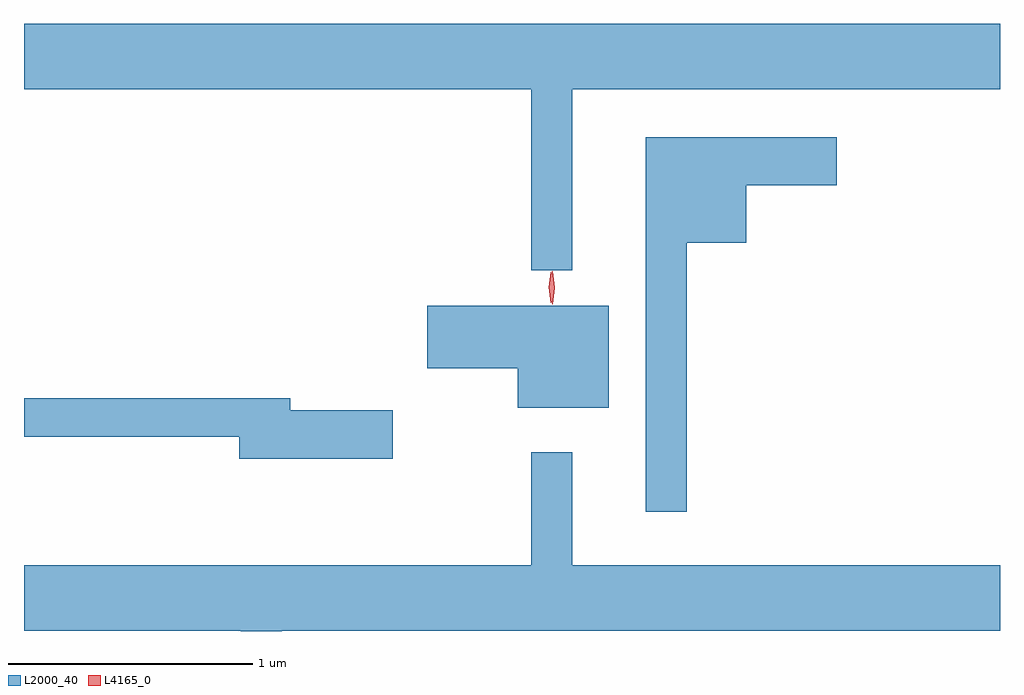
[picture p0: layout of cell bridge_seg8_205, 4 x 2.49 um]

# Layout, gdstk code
import gdstk
lib = gdstk.Library(unit=1e-6, precision=1e-09)
def P(c, l, *ps):  # polygons
    for p in ps: c.add(gdstk.Polygon(p, *l))
L2000_40 = (2000, 40)
L4165_0 = (4165, 0)

bridge_seg8_205 = lib.new_cell('bridge_seg8_205')
P(bridge_seg8_205, L2000_40, [(1217.109,1909.676),(1218.863,1909.676),(1218.863,1909.944),(1214.863,1909.944),(1214.863,1909.676),(1216.941,1909.676),(1216.941,1908.933),(1217.109,1908.933)],
  [(1217.579,1909.046),(1217.824,1909.046),(1217.824,1909.281),(1218.194,1909.281),(1218.194,1909.479),(1217.411,1909.479),(1217.411,1907.943),(1217.579,1907.943)],
  [(1217.259,1908.789),(1216.516,1908.789),(1216.516,1908.531),(1216.886,1908.531),(1216.886,1908.371),(1217.259,1908.371)],
  [(1216.374,1908.359),(1215.954,1908.359),(1215.954,1908.409),(1214.863,1908.409),(1214.863,1908.251),(1215.746,1908.251),(1215.746,1908.161),(1216.374,1908.161)],
  [(1215.919,1907.456),(1218.863,1907.456),(1218.863,1907.724),(1217.109,1907.724),(1217.109,1908.188),(1216.941,1908.188),(1216.941,1907.724),(1214.863,1907.724),(1214.863,1907.456),(1215.751,1907.456),(1215.751,1907.454),(1215.919,1907.454)])
P(bridge_seg8_205, L4165_0, [(1217.022,1908.8),(1217.013,1908.863),(1217.022,1908.926),(1217.023,1908.927),(1217.023,1908.926),(1217.033,1908.863),(1217.023,1908.8),(1217.023,1908.8)],
  [(1217.028,1908.794),(1217.019,1908.862),(1217.028,1908.93),(1217.028,1908.93),(1217.029,1908.93),(1217.038,1908.862),(1217.03,1908.794),(1217.029,1908.794)])

lib.write_gds('bridge_seg8_205.gds')
